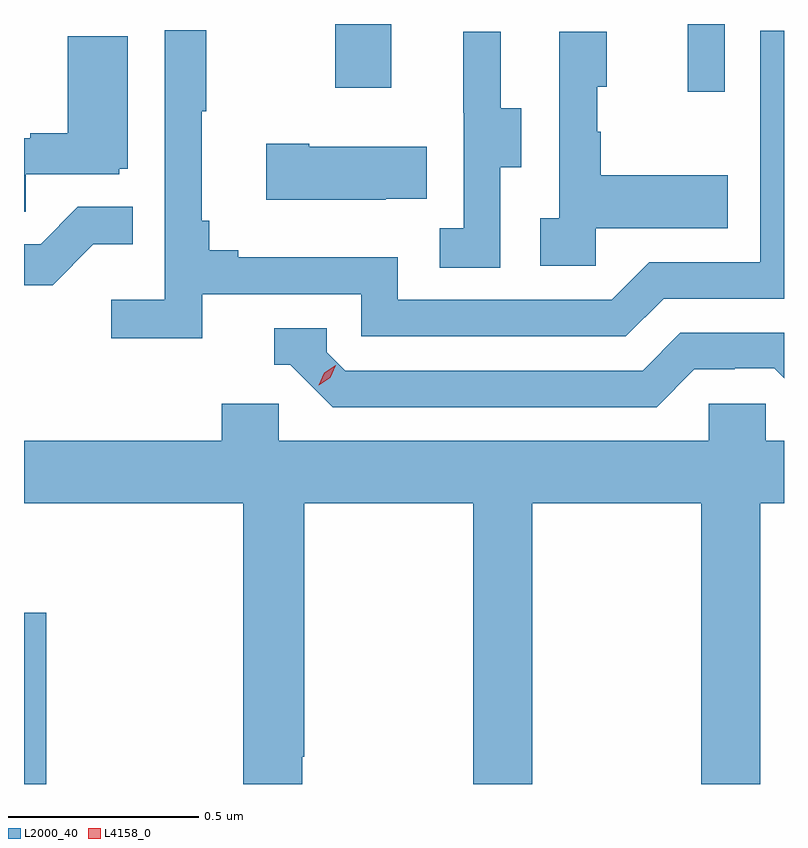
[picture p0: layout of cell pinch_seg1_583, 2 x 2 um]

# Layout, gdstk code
import gdstk
lib = gdstk.Library(unit=1e-6, precision=1e-09)
def R(c, l, rs):  # rectangles x0, y0, x1, y1
    for r in rs: c.add(gdstk.rectangle(r[:2], r[2:], *l))
def P(c, l, *ps):  # polygons
    for p in ps: c.add(gdstk.Polygon(p, *l))
L2000_40 = (2000, 40)
L4158_0 = (4158, 0)

pinch_seg1_583 = lib.new_cell('pinch_seg1_583')
R(pinch_seg1_583, L2000_40, [(1029.475,519.025,1029.533,519.476), (1031.222,520.847,1031.319,521.025), (1030.294,520.857,1030.441,521.025)])
P(pinch_seg1_583, L2000_40, [(1029.944,520.314),(1030.362,520.314),(1030.362,520.203),(1031.059,520.203),(1031.158,520.302),(1031.475,520.302),(1031.475,521.007),(1031.412,521.007),(1031.412,520.398),(1031.121,520.398),(1031.022,520.299),(1030.458,520.299),(1030.458,520.411),(1030.039,520.411),(1030.039,520.43),(1029.962,520.43),(1029.962,520.507),(1029.943,520.507),(1029.943,520.795),(1029.955,520.795),(1029.955,521.008),(1029.846,521.008),(1029.846,520.3),(1029.705,520.3),(1029.705,520.198),(1029.944,520.198)],
  [(1030.98,520.487),(1031.327,520.487),(1031.327,520.627),(1030.993,520.627),(1030.993,520.742),(1030.983,520.742),(1030.983,520.86),(1031.008,520.86),(1031.008,521.005),(1030.884,521.005),(1030.884,520.514),(1030.833,520.514),(1030.833,520.389),(1030.98,520.389)],
  [(1030.728,520.648),(1030.783,520.648),(1030.783,520.803),(1030.729,520.803),(1030.729,521.005),(1030.631,521.005),(1030.631,520.791),(1030.632,520.791),(1030.632,520.487),(1030.569,520.487),(1030.569,520.384),(1030.728,520.384)],
  [(1029.479,520.629),(1029.726,520.629),(1029.726,520.644),(1029.748,520.644),(1029.748,520.993),(1029.59,520.993),(1029.59,520.738),(1029.491,520.738),(1029.491,520.725),(1029.475,520.725),(1029.475,520.531),(1029.479,520.531)],
  [(1030.427,520.565),(1030.535,520.565),(1030.535,520.702),(1030.225,520.702),(1030.225,520.71),(1030.113,520.71),(1030.113,520.562),(1030.427,520.562)],
  [(1029.657,520.445),(1029.761,520.445),(1029.761,520.544),(1029.617,520.544),(1029.519,520.446),(1029.475,520.446),(1029.475,520.338),(1029.55,520.338)],
  [(1031.239,520.116),(1031.346,520.116),(1031.346,520.119),(1031.449,520.119),(1031.475,520.093),(1031.475,520.212),(1031.202,520.212),(1031.103,520.113),(1030.32,520.113),(1030.272,520.161),(1030.272,520.224),(1030.133,520.224),(1030.133,520.128),(1030.176,520.128),(1030.287,520.017),(1031.14,520.017)],
  [(1031.277,520.026),(1031.277,519.928),(1030.146,519.928),(1030.146,520.026),(1029.995,520.026),(1029.995,519.928),(1029.475,519.928),(1029.475,519.764),(1030.052,519.764),(1030.052,519.025),(1030.207,519.025),(1030.207,519.097),(1030.212,519.097),(1030.212,519.764),(1030.657,519.764),(1030.657,519.025),(1030.812,519.025),(1030.812,519.764),(1031.257,519.764),(1031.257,519.025),(1031.412,519.025),(1031.412,519.764),(1031.475,519.764),(1031.475,519.928),(1031.427,519.928),(1031.427,520.026)])
P(pinch_seg1_583, L4158_0, [(1030.25,520.074),(1030.25,520.074),(1030.265,520.107),(1030.295,520.127),(1030.296,520.127),(1030.296,520.127),(1030.281,520.094),(1030.25,520.074)])

lib.write_gds('pinch_seg1_583.gds')
